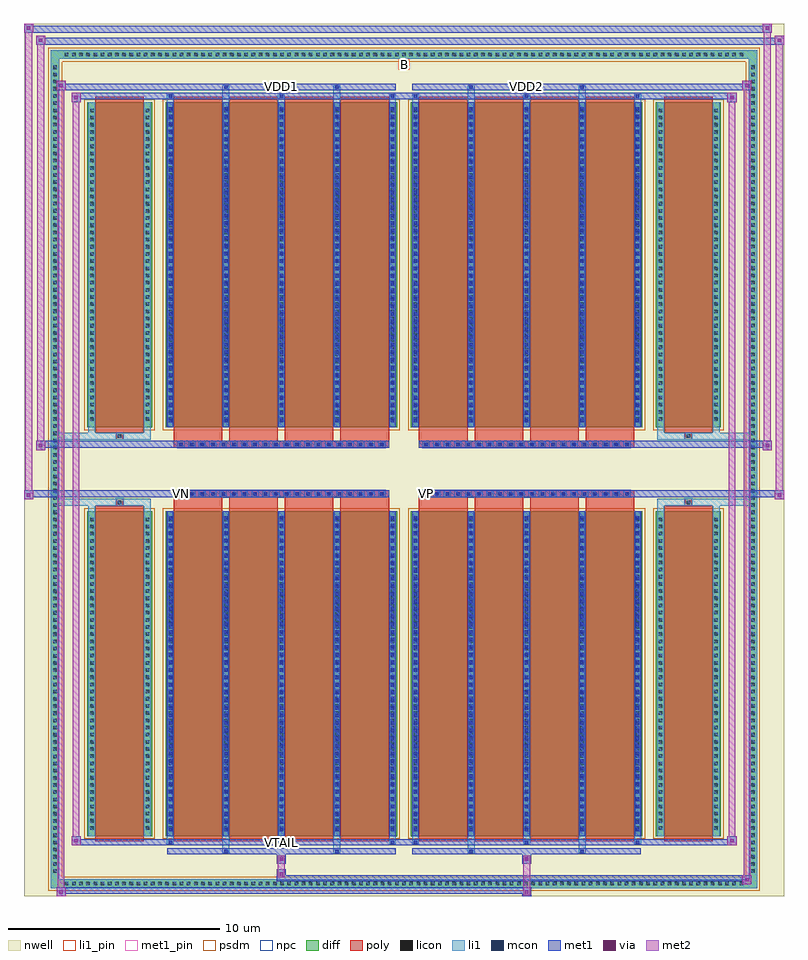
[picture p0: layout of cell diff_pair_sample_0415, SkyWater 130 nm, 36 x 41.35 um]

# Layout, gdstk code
import gdstk
lib = gdstk.Library(unit=1e-6, precision=5e-09)
def R(c, l, rs):  # rectangles x0, y0, x1, y1
    for r in rs: c.add(gdstk.rectangle(r[:2], r[2:], *l))
def A(c, l, x, y, w, h, nx, ny, dx, dy):  # array of equal rectangles
    R(c, l, [(x+i*dx, y+j*dy, x+i*dx+w, y+j*dy+h) for i in range(nx) for j in range(ny)])
def P(c, l, *ps):  # polygons
    for p in ps: c.add(gdstk.Polygon(p, *l))
nwell = (64, 20)
diff = (65, 20)
poly = (66, 20)
licon = (66, 44)
li1_pin = (67, 16)
li1 = (67, 20)
mcon = (67, 44)
met1_pin = (68, 16)
met1 = (68, 20)
via = (68, 44)
met2 = (69, 20)
psdm = (94, 20)
npc = (95, 20)

diff_pair_sample_0415 = lib.new_cell('diff_pair_sample_0415')
R(diff_pair_sample_0415, nwell, [(-18,-20.24,18,21.11), (-15.32,-18.43,-0.01,-0.805), (0.01,-18.43,15.32,-0.805), (-15.32,0.805,-0.01,18.43), (0.01,0.805,15.32,18.43)])
A(diff_pair_sample_0415, diff, -16.185, -19.84, 0.41, 0.41, 95, 2, 0.34, 39.27)
A(diff_pair_sample_0415, diff, -16.73, -19.245, 0.41, 0.41, 1, 113, 0, 0.34)
A(diff_pair_sample_0415, diff, 16.32, -19.245, 0.41, 0.41, 1, 113, 0, 0.34)
R(diff_pair_sample_0415, diff, [(-16.185,-19.84,16.185,-19.43), (-16.73,-19.245,-16.32,19.245), (16.32,-19.245,16.73,19.245), (-15.01,-17.385,-11.93,-1.985), (-11.29,-17.385,-0.32,-1.985), (0.32,-17.385,11.29,-1.985), (11.93,-17.385,15.01,-1.985), (-15.01,1.985,-11.93,17.385), (-11.29,1.985,-0.32,17.385), (0.32,1.985,11.29,17.385), (11.93,1.985,15.01,17.385), (-16.185,19.43,16.185,19.84)])
P(diff_pair_sample_0415, diff, [(16.73,19.84),(-16.73,19.84),(-16.73,-19.43),(-16.32,-19.43),(-16.32,19.43),(16.32,19.43),(16.32,-19.43),(-16.32,-19.43),(-16.73,-19.43),(-16.73,-19.84),(16.73,-19.84)])
A(diff_pair_sample_0415, poly, -10.9, -17.635, 2.3, 15.9, 4, 2, 2.63, 19.37)
A(diff_pair_sample_0415, poly, 0.71, -17.635, 2.3, 15.9, 4, 2, 2.63, 19.37)
A(diff_pair_sample_0415, poly, -10.9, -1.735, 2.3, 0.4, 4, 2, 2.63, 3.07)
A(diff_pair_sample_0415, poly, 0.71, -1.735, 2.3, 0.4, 4, 2, 2.63, 3.07)
A(diff_pair_sample_0415, poly, -10.72, -1.335, 0.33, 0.33, 20, 2, 0.5, 2.34)
A(diff_pair_sample_0415, poly, 0.89, -1.335, 0.33, 0.33, 20, 2, 0.5, 2.34)
R(diff_pair_sample_0415, poly, [(-14.62,-17.635,-12.32,-1.735), (12.32,-17.635,14.62,-1.735), (-13.635,-1.735,-13.305,-1.405), (-13.635,-1.735,-13.305,-1.405), (13.305,-1.735,13.635,-1.405), (13.305,-1.735,13.635,-1.405), (-10.9,-1.335,-0.71,-1.005), (0.71,-1.335,10.9,-1.005), (-10.9,1.005,-0.71,1.335), (0.71,1.005,10.9,1.335), (-13.635,1.405,-13.305,1.735), (-13.635,1.405,-13.305,1.735), (13.305,1.405,13.635,1.735), (13.305,1.405,13.635,1.735), (-14.62,1.735,-12.32,17.635), (12.32,1.735,14.62,17.635)])
A(diff_pair_sample_0415, licon, -16.065, -19.72, 0.17, 0.17, 95, 2, 0.34, 39.27)
A(diff_pair_sample_0415, licon, -16.61, -19.125, 0.17, 0.17, 1, 113, 0, 0.34)
A(diff_pair_sample_0415, licon, 16.44, -19.125, 0.17, 0.17, 1, 113, 0, 0.34)
A(diff_pair_sample_0415, licon, -14.87, -17.08, 0.17, 0.17, 1, 44, 0, 0.34)
A(diff_pair_sample_0415, licon, -12.24, -17.08, 0.17, 0.17, 1, 44, 0, 0.34)
A(diff_pair_sample_0415, licon, -11.15, -17.08, 0.17, 0.17, 5, 44, 2.63, 0.34)
A(diff_pair_sample_0415, licon, 0.46, -17.08, 0.17, 0.17, 5, 44, 2.63, 0.34)
A(diff_pair_sample_0415, licon, 12.07, -17.08, 0.17, 0.17, 1, 44, 0, 0.34)
A(diff_pair_sample_0415, licon, 14.7, -17.08, 0.17, 0.17, 1, 44, 0, 0.34)
A(diff_pair_sample_0415, licon, -10.64, -1.255, 0.17, 0.17, 20, 2, 0.5, 2.34)
A(diff_pair_sample_0415, licon, 0.97, -1.255, 0.17, 0.17, 20, 2, 0.5, 2.34)
A(diff_pair_sample_0415, licon, -14.87, 2.29, 0.17, 0.17, 1, 44, 0, 0.34)
A(diff_pair_sample_0415, licon, -12.24, 2.29, 0.17, 0.17, 1, 44, 0, 0.34)
A(diff_pair_sample_0415, licon, -11.15, 2.29, 0.17, 0.17, 5, 44, 2.63, 0.34)
A(diff_pair_sample_0415, licon, 0.46, 2.29, 0.17, 0.17, 5, 44, 2.63, 0.34)
A(diff_pair_sample_0415, licon, 12.07, 2.29, 0.17, 0.17, 1, 44, 0, 0.34)
A(diff_pair_sample_0415, licon, 14.7, 2.29, 0.17, 0.17, 1, 44, 0, 0.34)
R(diff_pair_sample_0415, licon, [(-13.555,-1.655,-13.385,-1.485), (13.385,-1.655,13.555,-1.485), (-13.555,1.485,-13.385,1.655), (13.385,1.485,13.555,1.655)])
R(diff_pair_sample_0415, li1_pin, [(-0.25,18.93,0.25,19.43)])
A(diff_pair_sample_0415, li1, -16.145, -19.8, 0.33, 0.33, 95, 2, 0.34, 39.27)
A(diff_pair_sample_0415, li1, -16.69, -19.205, 0.33, 0.33, 1, 113, 0, 0.34)
A(diff_pair_sample_0415, li1, 16.36, -19.205, 0.33, 0.33, 1, 113, 0, 0.34)
A(diff_pair_sample_0415, li1, -11.23, -17.76, 0.33, 0.375, 3, 2, 5.26, 35.145)
A(diff_pair_sample_0415, li1, -11.15, -17.76, 0.17, 0.17, 3, 2, 5.26, 35.35)
A(diff_pair_sample_0415, li1, 0.38, -17.76, 0.33, 0.375, 3, 2, 5.26, 35.145)
A(diff_pair_sample_0415, li1, 0.46, -17.76, 0.17, 0.17, 3, 2, 5.26, 35.35)
A(diff_pair_sample_0415, li1, -11.23, -17.385, 0.33, 15.4, 5, 2, 2.63, 19.37)
A(diff_pair_sample_0415, li1, 0.38, -17.385, 0.33, 15.4, 5, 2, 2.63, 19.37)
A(diff_pair_sample_0415, li1, -14.95, -17.16, 0.33, 0.33, 1, 44, 0, 0.34)
A(diff_pair_sample_0415, li1, -12.32, -17.16, 0.33, 0.33, 1, 44, 0, 0.34)
A(diff_pair_sample_0415, li1, -11.23, -17.16, 0.33, 0.33, 5, 44, 2.63, 0.34)
A(diff_pair_sample_0415, li1, 0.38, -17.16, 0.33, 0.33, 5, 44, 2.63, 0.34)
A(diff_pair_sample_0415, li1, 11.99, -17.16, 0.33, 0.33, 1, 44, 0, 0.34)
A(diff_pair_sample_0415, li1, 14.62, -17.16, 0.33, 0.33, 1, 44, 0, 0.34)
A(diff_pair_sample_0415, li1, -11.15, -17.15, 0.17, 0.17, 5, 42, 2.63, 0.36)
A(diff_pair_sample_0415, li1, -11.15, -17.15, 0.17, 14.93, 5, 2, 2.63, 19.37)
A(diff_pair_sample_0415, li1, 0.46, -17.15, 0.17, 0.17, 5, 42, 2.63, 0.36)
A(diff_pair_sample_0415, li1, 0.46, -17.15, 0.17, 14.93, 5, 2, 2.63, 19.37)
A(diff_pair_sample_0415, li1, -10.72, -1.335, 0.33, 0.33, 20, 2, 0.5, 2.34)
A(diff_pair_sample_0415, li1, 0.89, -1.335, 0.33, 0.33, 20, 2, 0.5, 2.34)
A(diff_pair_sample_0415, li1, -14.95, 2.21, 0.33, 0.33, 1, 44, 0, 0.34)
A(diff_pair_sample_0415, li1, -12.32, 2.21, 0.33, 0.33, 1, 44, 0, 0.34)
A(diff_pair_sample_0415, li1, -11.23, 2.21, 0.33, 0.33, 5, 44, 2.63, 0.34)
A(diff_pair_sample_0415, li1, 0.38, 2.21, 0.33, 0.33, 5, 44, 2.63, 0.34)
A(diff_pair_sample_0415, li1, 11.99, 2.21, 0.33, 0.33, 1, 44, 0, 0.34)
A(diff_pair_sample_0415, li1, 14.62, 2.21, 0.33, 0.33, 1, 44, 0, 0.34)
A(diff_pair_sample_0415, li1, -11.15, 2.22, 0.17, 0.17, 5, 42, 2.63, 0.36)
A(diff_pair_sample_0415, li1, 0.46, 2.22, 0.17, 0.17, 5, 42, 2.63, 0.36)
R(diff_pair_sample_0415, li1, [(-16.73,-19.84,-16.32,-19.43), (-16.73,-19.84,-16.32,-19.43), (-16.32,-19.84,16.32,-19.43), (16.32,-19.84,16.73,-19.43), (16.32,-19.84,16.73,-19.43), (-16.73,-19.43,-16.32,19.43), (16.32,-19.43,16.73,19.43), (-8.6,-18.19,-8.27,-17.385), (-8.52,-18.19,-8.35,-18.02), (-3.34,-18.19,-3.01,-17.385), (-3.26,-18.19,-3.09,-18.02), (3.01,-18.19,3.34,-17.385), (3.09,-18.19,3.26,-18.02), (8.27,-18.19,8.6,-17.385), (8.35,-18.19,8.52,-18.02), (-14.95,-17.385,-14.62,-1.985), (-12.32,-17.385,-11.99,-1.985), (11.99,-17.385,12.32,-1.985), (14.62,-17.385,14.95,-1.985), (-14.95,-1.985,-14.62,-1.405), (-12.32,-1.985,-11.99,-1.405), (11.99,-1.985,12.32,-1.405), (14.62,-1.985,14.95,-1.405), (-16.73,-1.735,-13.635,-1.405), (-14.95,-1.735,-13.635,-1.405), (-13.635,-1.735,-13.305,-1.405), (-13.305,-1.735,-11.99,-1.405), (11.99,-1.735,13.305,-1.405), (13.305,-1.735,13.635,-1.405), (13.305,-1.735,16.73,-1.405), (13.635,-1.735,14.95,-1.405), (-16.73,1.405,-13.635,1.735), (-14.95,1.405,-13.635,1.735), (-14.95,1.405,-14.62,1.985), (-13.635,1.405,-13.305,1.735), (-13.305,1.405,-11.99,1.735), (-12.32,1.405,-11.99,1.985), (11.99,1.405,13.305,1.735), (11.99,1.405,12.32,1.985), (13.305,1.405,13.635,1.735), (13.305,1.405,16.73,1.735), (13.635,1.405,14.95,1.735), (14.62,1.405,14.95,1.985), (-14.95,1.985,-14.62,17.385), (-12.32,1.985,-11.99,17.385), (11.99,1.985,12.32,17.385), (14.62,1.985,14.95,17.385), (-8.6,17.385,-8.27,18.19), (-3.34,17.385,-3.01,18.19), (3.01,17.385,3.34,18.19), (8.27,17.385,8.6,18.19), (-8.52,18.02,-8.35,18.19), (-3.26,18.02,-3.09,18.19), (3.09,18.02,3.26,18.19), (8.35,18.02,8.52,18.19), (-16.73,19.43,-16.32,19.84), (-16.73,19.43,-16.32,19.84), (-16.32,19.43,16.32,19.84), (16.32,19.43,16.73,19.84), (16.32,19.43,16.73,19.84)])
A(diff_pair_sample_0415, mcon, -11.15, -17.76, 0.17, 0.17, 3, 2, 5.26, 35.35)
A(diff_pair_sample_0415, mcon, 0.46, -17.76, 0.17, 0.17, 3, 2, 5.26, 35.35)
A(diff_pair_sample_0415, mcon, -11.15, -17.15, 0.17, 0.17, 5, 42, 2.63, 0.36)
A(diff_pair_sample_0415, mcon, 0.46, -17.15, 0.17, 0.17, 5, 42, 2.63, 0.36)
A(diff_pair_sample_0415, mcon, -10.64, -1.255, 0.17, 0.17, 20, 2, 0.5, 2.34)
A(diff_pair_sample_0415, mcon, 0.97, -1.255, 0.17, 0.17, 20, 2, 0.5, 2.34)
A(diff_pair_sample_0415, mcon, -11.15, 2.22, 0.17, 0.17, 5, 42, 2.63, 0.36)
A(diff_pair_sample_0415, mcon, 0.46, 2.22, 0.17, 0.17, 5, 42, 2.63, 0.36)
R(diff_pair_sample_0415, mcon, [(-8.52,-18.19,-8.35,-18.02), (-3.26,-18.19,-3.09,-18.02), (3.09,-18.19,3.26,-18.02), (8.35,-18.19,8.52,-18.02), (-8.52,18.02,-8.35,18.19), (-3.26,18.02,-3.09,18.19), (3.09,18.02,3.26,18.19), (8.35,18.02,8.52,18.19)])
R(diff_pair_sample_0415, met1_pin, [(-5.94,-17.8,-5.67,-17.53), (-10.69,-1.295,-10.42,-1.025), (0.92,-1.295,1.19,-1.025), (-5.94,17.98,-5.67,18.25), (5.67,17.98,5.94,18.25)])
A(diff_pair_sample_0415, met1, -11.21, -17.82, 0.29, 0.29, 3, 2, 5.26, 35.35)
A(diff_pair_sample_0415, met1, 0.4, -17.82, 0.29, 0.29, 3, 2, 5.26, 35.35)
A(diff_pair_sample_0415, met1, -11.21, -17.385, 0.29, 15.4, 5, 2, 2.63, 19.37)
A(diff_pair_sample_0415, met1, 0.4, -17.385, 0.29, 15.4, 5, 2, 2.63, 19.37)
A(diff_pair_sample_0415, met1, -11.21, -17.21, 0.29, 0.29, 5, 42, 2.63, 0.36)
A(diff_pair_sample_0415, met1, 0.4, -17.21, 0.29, 0.29, 5, 42, 2.63, 0.36)
A(diff_pair_sample_0415, met1, -10.7, -1.315, 0.29, 0.29, 20, 2, 0.5, 2.34)
A(diff_pair_sample_0415, met1, 0.91, -1.315, 0.29, 0.29, 20, 2, 0.5, 2.34)
A(diff_pair_sample_0415, met1, -11.21, 2.16, 0.29, 0.29, 5, 42, 2.63, 0.36)
A(diff_pair_sample_0415, met1, 0.4, 2.16, 0.29, 0.29, 5, 42, 2.63, 0.36)
R(diff_pair_sample_0415, met1, [(-16.46,-20.24,-16.03,-19.81), (5.59,-20.24,6.02,-19.81), (-16.46,-20.1,6.02,-19.81), (16.03,-19.67,16.46,-19.24), (-6.02,-19.53,16.46,-19.24), (-6.02,-19.39,-5.59,-18.96), (-6.02,-18.68,-5.59,-18.25), (5.59,-18.68,6.02,-18.25), (-11.21,-18.25,-0.4,-17.96), (-8.58,-18.25,-8.29,-17.96), (-3.32,-18.25,-3.03,-17.96), (0.4,-18.25,11.21,-17.96), (3.03,-18.25,3.32,-17.96), (8.29,-18.25,8.58,-17.96), (-15.75,-17.82,-15.32,-17.39), (-15.75,-17.82,-11.21,-17.53), (-11.21,-17.82,-0.4,-17.53), (-0.4,-17.82,0.4,-17.53), (0.4,-17.82,11.21,-17.53), (11.21,-17.82,15.75,-17.53), (15.32,-17.82,15.75,-17.39), (-18,-1.435,-17.57,-1.005), (17.57,-1.435,18,-1.005), (-18,-1.335,-0.71,-1.005), (-10.9,-1.335,-0.71,-1.005), (0.71,-1.335,10.9,-1.005), (0.71,-1.335,18,-1.005), (-17.43,0.905,-17,1.335), (17,0.905,17.43,1.335), (-17.43,1.005,-10.9,1.335), (-10.9,1.005,-0.71,1.335), (0.71,1.005,10.9,1.335), (10.9,1.005,17.43,1.335), (-15.75,17.39,-15.32,17.82), (15.32,17.39,15.75,17.82), (-15.75,17.53,-11.21,17.82), (-11.21,17.53,-0.4,17.82), (-0.4,17.53,0.4,17.82), (0.4,17.53,11.21,17.82), (11.21,17.53,15.75,17.82), (-16.46,17.96,-16.03,18.39), (-16.46,17.96,-11.21,18.25), (-11.21,17.96,-0.4,18.25), (-8.58,17.96,-8.29,18.25), (-3.32,17.96,-3.03,18.25), (0.4,17.96,11.21,18.25), (3.03,17.96,3.32,18.25), (8.29,17.96,8.58,18.25), (11.21,17.96,16.46,18.25), (16.03,17.96,16.46,18.39), (-17.43,20.11,-17,20.54), (-17.43,20.11,-15.32,20.44), (-15.32,20.11,15.32,20.44), (15.32,20.11,18,20.44), (17.57,20.11,18,20.54), (-18,20.68,-17.57,21.11), (-18,20.68,-15.32,21.01), (-15.32,20.68,15.32,21.01), (15.32,20.68,17.43,21.01), (17,20.68,17.43,21.11)])
R(diff_pair_sample_0415, via, [(-16.32,-20.1,-16.17,-19.95), (5.73,-20.1,5.88,-19.95), (16.17,-19.53,16.32,-19.38), (-5.88,-19.25,-5.73,-19.1), (-5.88,-18.54,-5.73,-18.39), (5.73,-18.54,5.88,-18.39), (-15.61,-17.68,-15.46,-17.53), (15.46,-17.68,15.61,-17.53), (-17.86,-1.295,-17.71,-1.145), (17.71,-1.295,17.86,-1.145), (-17.29,1.045,-17.14,1.195), (17.14,1.045,17.29,1.195), (-15.61,17.53,-15.46,17.68), (15.46,17.53,15.61,17.68), (-16.32,18.1,-16.17,18.25), (16.17,18.1,16.32,18.25), (-17.29,20.25,-17.14,20.4), (17.71,20.25,17.86,20.4), (-17.86,20.82,-17.71,20.97), (17.14,20.82,17.29,20.97)])
R(diff_pair_sample_0415, met2, [(-16.46,-20.24,-16.03,-19.81), (-16.39,-20.24,-16.1,18.39), (-16.1,-20.24,-16.03,-19.81), (-16.41,-20.19,-16.08,-19.86), (5.64,-20.19,5.97,-19.86), (5.64,-19.86,5.97,-18.63), (16.03,-19.67,16.46,-19.24), (16.1,-19.67,16.39,18.39), (16.39,-19.67,16.46,-19.24), (16.08,-19.62,16.41,-19.29), (-5.97,-19.34,-5.64,-19.01), (-5.97,-19.01,-5.64,-18.63), (-5.97,-18.63,-5.64,-18.3), (5.64,-18.63,5.97,-18.3), (-15.75,-17.82,-15.32,-17.39), (-15.68,-17.82,-15.39,17.82), (-15.39,-17.82,-15.32,-17.39), (15.32,-17.82,15.75,-17.39), (15.39,-17.82,15.68,17.82), (15.68,-17.82,15.75,-17.39), (-15.7,-17.77,-15.37,-17.44), (15.37,-17.77,15.7,-17.44), (-18,-1.435,-17.57,-1.005), (-17.95,-1.435,-17.62,21.11), (-17.62,-1.435,-17.57,-1.005), (17.57,-1.435,18,-1.005), (17.62,-1.435,17.95,20.54), (17.95,-1.435,18,-1.005), (-17.95,-1.385,-17.62,-1.055), (17.62,-1.385,17.95,-1.055), (-17.43,0.905,-17,1.335), (-17.38,0.905,-17.05,20.54), (-17.05,0.905,-17,1.335), (17,0.905,17.43,1.335), (17.05,0.905,17.38,21.11), (17.38,0.905,17.43,1.335), (-17.38,0.955,-17.05,1.285), (17.05,0.955,17.38,1.285), (-15.75,17.39,-15.32,17.82), (-15.39,17.39,-15.32,17.82), (15.32,17.39,15.75,17.82), (15.68,17.39,15.75,17.82), (-15.7,17.44,-15.37,17.77), (15.37,17.44,15.7,17.77), (-16.46,17.96,-16.03,18.39), (-16.1,17.96,-16.03,18.39), (16.03,17.96,16.46,18.39), (16.39,17.96,16.46,18.39), (-16.41,18.01,-16.08,18.34), (16.08,18.01,16.41,18.34), (-17.43,20.11,-17,20.54), (-17.05,20.11,-17,20.54), (17.57,20.11,18,20.54), (17.95,20.11,18,20.54), (-17.38,20.16,-17.05,20.49), (17.62,20.16,17.95,20.49), (-18,20.68,-17.57,21.11), (-17.62,20.68,-17.57,21.11), (17,20.68,17.43,21.11), (17.38,20.68,17.43,21.11), (-17.95,20.73,-17.62,21.06), (17.05,20.73,17.38,21.06)])
R(diff_pair_sample_0415, psdm, [(-15.14,-17.515,-11.8,-1.855), (-11.42,-17.515,-0.19,-1.855), (0.19,-17.515,11.42,-1.855), (11.8,-17.515,15.14,-1.855), (-15.14,1.855,-11.8,17.515), (-11.42,1.855,-0.19,17.515), (0.19,1.855,11.42,17.515), (11.8,1.855,15.14,17.515)])
P(diff_pair_sample_0415, psdm, [(16.86,19.97),(-16.86,19.97),(-16.86,-19.3),(-16.19,-19.3),(-16.19,19.3),(16.19,19.3),(16.19,-19.3),(-16.19,-19.3),(-16.86,-19.3),(-16.86,-19.97),(16.86,-19.97)])
A(diff_pair_sample_0415, npc, -10.74, -1.355, 0.37, 0.37, 20, 2, 0.5, 2.34)
A(diff_pair_sample_0415, npc, 0.87, -1.355, 0.37, 0.37, 20, 2, 0.5, 2.34)
R(diff_pair_sample_0415, npc, [(-13.655,-1.755,-13.285,-1.385), (13.285,-1.755,13.655,-1.385), (-10.74,-1.355,-9.87,-0.985), (-10.74,-1.355,-9.87,-0.985), (-10.24,-1.355,-9.37,-0.985), (-10.24,-1.355,-9.37,-0.985), (-9.74,-1.355,-8.87,-0.985), (-9.74,-1.355,-8.87,-0.985), (-9.24,-1.355,-8.37,-0.985), (-9.24,-1.355,-8.37,-0.985), (-8.74,-1.355,-7.87,-0.985), (-8.74,-1.355,-7.87,-0.985), (-8.24,-1.355,-7.37,-0.985), (-8.24,-1.355,-7.37,-0.985), (-7.74,-1.355,-6.87,-0.985), (-7.74,-1.355,-6.87,-0.985), (-7.24,-1.355,-6.37,-0.985), (-7.24,-1.355,-6.37,-0.985), (-6.74,-1.355,-5.87,-0.985), (-6.74,-1.355,-5.87,-0.985), (-6.24,-1.355,-5.37,-0.985), (-6.24,-1.355,-5.37,-0.985), (-5.74,-1.355,-4.87,-0.985), (-5.74,-1.355,-4.87,-0.985), (-5.24,-1.355,-4.37,-0.985), (-5.24,-1.355,-4.37,-0.985), (-4.74,-1.355,-3.87,-0.985), (-4.74,-1.355,-3.87,-0.985), (-4.24,-1.355,-3.37,-0.985), (-4.24,-1.355,-3.37,-0.985), (-3.74,-1.355,-2.87,-0.985), (-3.74,-1.355,-2.87,-0.985), (-3.24,-1.355,-2.37,-0.985), (-3.24,-1.355,-2.37,-0.985), (-2.74,-1.355,-1.87,-0.985), (-2.74,-1.355,-1.87,-0.985), (-2.24,-1.355,-1.37,-0.985), (-2.24,-1.355,-1.37,-0.985), (-1.74,-1.355,-0.87,-0.985), (-1.74,-1.355,-0.87,-0.985), (0.87,-1.355,1.74,-0.985), (0.87,-1.355,1.74,-0.985), (1.37,-1.355,2.24,-0.985), (1.37,-1.355,2.24,-0.985), (1.87,-1.355,2.74,-0.985), (1.87,-1.355,2.74,-0.985), (2.37,-1.355,3.24,-0.985), (2.37,-1.355,3.24,-0.985), (2.87,-1.355,3.74,-0.985), (2.87,-1.355,3.74,-0.985), (3.37,-1.355,4.24,-0.985), (3.37,-1.355,4.24,-0.985), (3.87,-1.355,4.74,-0.985), (3.87,-1.355,4.74,-0.985), (4.37,-1.355,5.24,-0.985), (4.37,-1.355,5.24,-0.985), (4.87,-1.355,5.74,-0.985), (4.87,-1.355,5.74,-0.985), (5.37,-1.355,6.24,-0.985), (5.37,-1.355,6.24,-0.985), (5.87,-1.355,6.74,-0.985), (5.87,-1.355,6.74,-0.985), (6.37,-1.355,7.24,-0.985), (6.37,-1.355,7.24,-0.985), (6.87,-1.355,7.74,-0.985), (6.87,-1.355,7.74,-0.985), (7.37,-1.355,8.24,-0.985), (7.37,-1.355,8.24,-0.985), (7.87,-1.355,8.74,-0.985), (7.87,-1.355,8.74,-0.985), (8.37,-1.355,9.24,-0.985), (8.37,-1.355,9.24,-0.985), (8.87,-1.355,9.74,-0.985), (8.87,-1.355,9.74,-0.985), (9.37,-1.355,10.24,-0.985), (9.37,-1.355,10.24,-0.985), (9.87,-1.355,10.74,-0.985), (9.87,-1.355,10.74,-0.985), (-10.74,0.985,-9.87,1.355), (-10.74,0.985,-9.87,1.355), (-10.24,0.985,-9.37,1.355), (-10.24,0.985,-9.37,1.355), (-9.74,0.985,-8.87,1.355), (-9.74,0.985,-8.87,1.355), (-9.24,0.985,-8.37,1.355), (-9.24,0.985,-8.37,1.355), (-8.74,0.985,-7.87,1.355), (-8.74,0.985,-7.87,1.355), (-8.24,0.985,-7.37,1.355), (-8.24,0.985,-7.37,1.355), (-7.74,0.985,-6.87,1.355), (-7.74,0.985,-6.87,1.355), (-7.24,0.985,-6.37,1.355), (-7.24,0.985,-6.37,1.355), (-6.74,0.985,-5.87,1.355), (-6.74,0.985,-5.87,1.355), (-6.24,0.985,-5.37,1.355), (-6.24,0.985,-5.37,1.355), (-5.74,0.985,-4.87,1.355), (-5.74,0.985,-4.87,1.355), (-5.24,0.985,-4.37,1.355), (-5.24,0.985,-4.37,1.355), (-4.74,0.985,-3.87,1.355), (-4.74,0.985,-3.87,1.355), (-4.24,0.985,-3.37,1.355), (-4.24,0.985,-3.37,1.355), (-3.74,0.985,-2.87,1.355), (-3.74,0.985,-2.87,1.355), (-3.24,0.985,-2.37,1.355), (-3.24,0.985,-2.37,1.355), (-2.74,0.985,-1.87,1.355), (-2.74,0.985,-1.87,1.355), (-2.24,0.985,-1.37,1.355), (-2.24,0.985,-1.37,1.355), (-1.74,0.985,-0.87,1.355), (-1.74,0.985,-0.87,1.355), (0.87,0.985,1.74,1.355), (0.87,0.985,1.74,1.355), (1.37,0.985,2.24,1.355), (1.37,0.985,2.24,1.355), (1.87,0.985,2.74,1.355), (1.87,0.985,2.74,1.355), (2.37,0.985,3.24,1.355), (2.37,0.985,3.24,1.355), (2.87,0.985,3.74,1.355), (2.87,0.985,3.74,1.355), (3.37,0.985,4.24,1.355), (3.37,0.985,4.24,1.355), (3.87,0.985,4.74,1.355), (3.87,0.985,4.74,1.355), (4.37,0.985,5.24,1.355), (4.37,0.985,5.24,1.355), (4.87,0.985,5.74,1.355), (4.87,0.985,5.74,1.355), (5.37,0.985,6.24,1.355), (5.37,0.985,6.24,1.355), (5.87,0.985,6.74,1.355), (5.87,0.985,6.74,1.355), (6.37,0.985,7.24,1.355), (6.37,0.985,7.24,1.355), (6.87,0.985,7.74,1.355), (6.87,0.985,7.74,1.355), (7.37,0.985,8.24,1.355), (7.37,0.985,8.24,1.355), (7.87,0.985,8.74,1.355), (7.87,0.985,8.74,1.355), (8.37,0.985,9.24,1.355), (8.37,0.985,9.24,1.355), (8.87,0.985,9.74,1.355), (8.87,0.985,9.74,1.355), (9.37,0.985,10.24,1.355), (9.37,0.985,10.24,1.355), (9.87,0.985,10.74,1.355), (9.87,0.985,10.74,1.355), (-13.655,1.385,-13.285,1.755), (13.285,1.385,13.655,1.755)])
diff_pair_sample_0415.add(gdstk.Label('VTAIL', (-5.805,-17.665), layer=68, texttype=5))
diff_pair_sample_0415.add(gdstk.Label('VN', (-10.555,-1.16), layer=68, texttype=5))
diff_pair_sample_0415.add(gdstk.Label('VP', (1.055,-1.16), layer=68, texttype=5))
diff_pair_sample_0415.add(gdstk.Label('B', (0,19.18), layer=67, texttype=5))
diff_pair_sample_0415.add(gdstk.Label('VDD2', (5.805,18.115), layer=68, texttype=5))
diff_pair_sample_0415.add(gdstk.Label('VDD1', (-5.805,18.115), layer=68, texttype=5))

lib.write_gds('diff_pair_sample_0415.gds')
